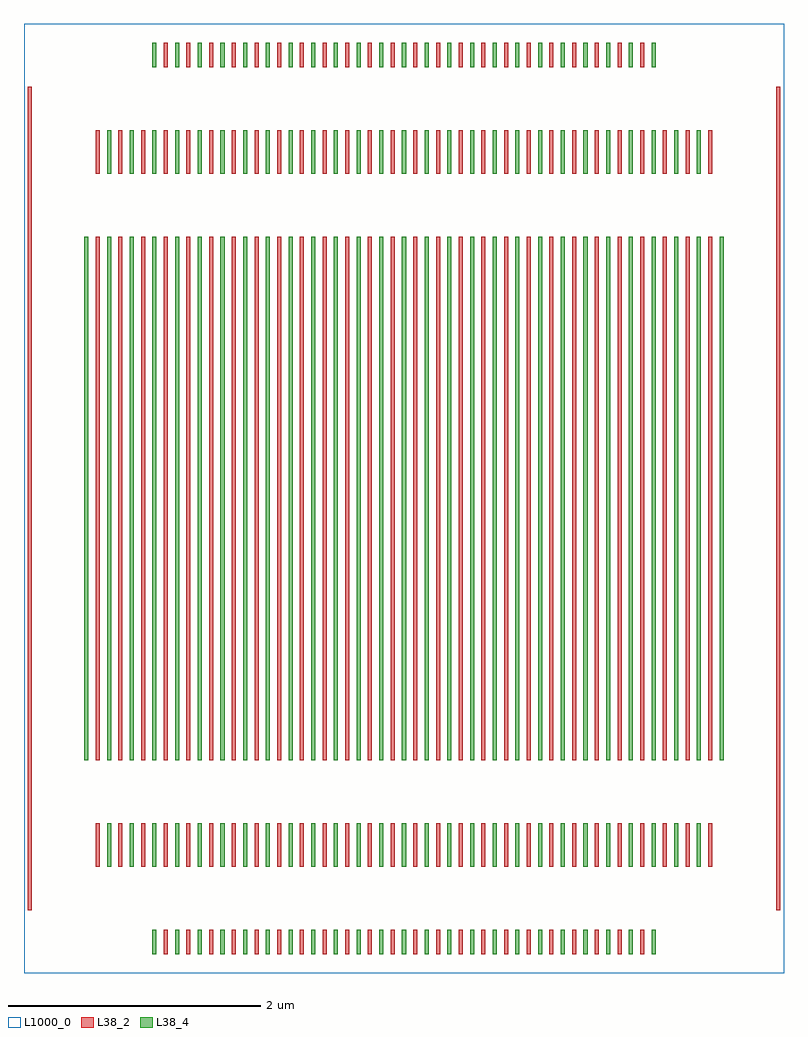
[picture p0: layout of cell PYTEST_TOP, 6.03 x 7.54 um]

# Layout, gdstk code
import gdstk
lib = gdstk.Library(unit=1e-6, precision=5e-10)
def R(c, l, rs):  # rectangles x0, y0, x1, y1
    for r in rs: c.add(gdstk.rectangle(r[:2], r[2:], *l))
def A(c, l, x, y, w, h, nx, ny, dx, dy):  # array of equal rectangles
    R(c, l, [(x+i*dx, y+j*dy, x+i*dx+w, y+j*dy+h) for i in range(nx) for j in range(ny)])
L38_2 = (38, 2)
L38_4 = (38, 4)
L1000_0 = (1000, 0)

pytest_top = lib.new_cell('PYTEST_TOP')
A(pytest_top, L38_2, 1.109, 0.1535, 0.032, 0.193, 22, 2, 0.18, 7.036)
A(pytest_top, L38_2, 0.569, 0.8465, 0.032, 0.3465, 28, 2, 0.18, 5.4965)
A(pytest_top, L38_2, 0.569, 1.693, 0.032, 4.15, 28, 1, 0.18, 0)
R(pytest_top, L38_2, [(0.029,0.5,0.061,7.036), (5.969,0.5,6.001,7.036)])
A(pytest_top, L38_4, 1.019, 0.1535, 0.032, 0.193, 23, 2, 0.18, 7.036)
A(pytest_top, L38_4, 0.659, 0.8465, 0.032, 0.3465, 27, 2, 0.18, 5.4965)
A(pytest_top, L38_4, 0.479, 1.693, 0.032, 4.15, 29, 1, 0.18, 0)
R(pytest_top, L1000_0, [(0,0,6.03,7.536)])

lib.write_gds('PYTEST_TOP.gds')
